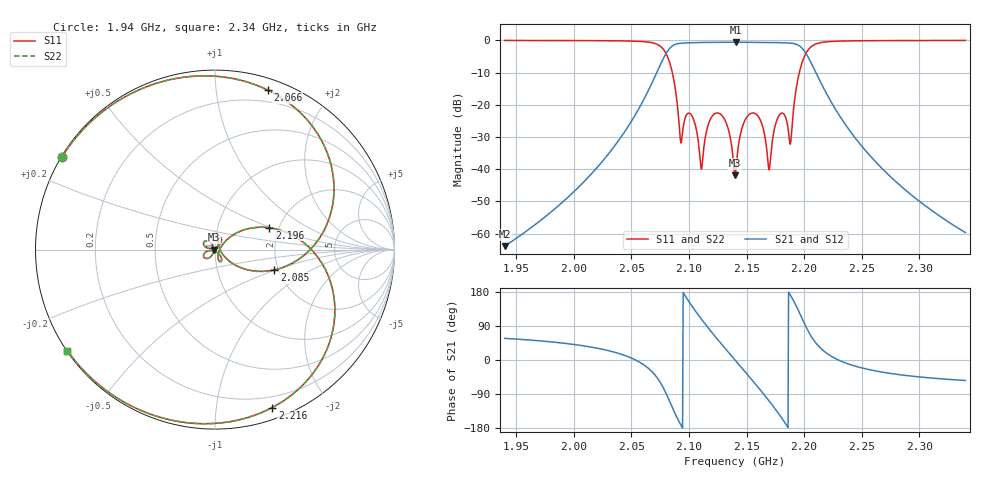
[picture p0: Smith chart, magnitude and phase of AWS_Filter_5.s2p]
!Port 1 is shunt  connected
!Port 2 is shunt  connected
!prototype= pole placed tchebycheff
!n=  5,  np= 0,  rl=  22.000dB
!transform= band pass
!f0= 2140.000MHz,  bw=  100.000MHz, q0=1000.000
!fstart= 1940.000MHz, fstep=  0.500MHz, fstop= 2340.000MHz
# MHZ S MA R 50
!Freq  Mag(S11)  Arg(S11)  Mag(S21)  Arg(S21)  Mag(S12)  Arg(S12)  Mag(S22)  Arg(S22)
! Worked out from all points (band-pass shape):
!   801 points, 1.94 GHz to 2.34 GHz, reference 50 ohm
!   highest |S21| = -0.58 dB at 2.14 GHz (marker M1); lowest = -63.9 dB at 1.94 GHz (marker M2)
!   |S21| within 3 dB of the highest: 2.081 GHz to 2.201 GHz (119.7 MHz wide, 5.59 % of centre)
!   lowest |S11| = -41.9 dB at 2.14 GHz (marker M3), VSWR 1.02, Z = 49.2 - j0.000178 ohm
!   |S11| at or under -10 dB: 2.086 GHz to 2.196 GHz (110.3 MHz wide, 5.15 % of centre)
!   |S22| runs from -41.9 to 0.0 dB; largest |S21 - S12| = 0
!   S11 on the Smith chart (normalised r, x): 1.94 GHz: 0.00, +0.28; 2.066 GHz: 0.10, +1.38; 2.085 GHz: 1.90, -0.49; 2.196 GHz: 1.78, +0.49; 2.216 GHz: 0.10, -1.42; 2.34 GHz: 0.00, -0.31
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1940  0.9968 148.8  0.0006382 57.2  0.0006382 57.2  0.9968 148.8
2007  0.9919 130.6  0.005908 38.1  0.005908 38.1  0.9919 130.6
2065.5  0.9365 71.8  0.1771 -23.8  0.1771 -23.8  0.9365 71.8
2073.5  0.8484 45.4  0.3601 -51.5  0.3601 -51.5  0.8484 45.4
2085  0.3492 -19.0  0.8035 -121.5  0.8035 -121.5  0.3492 -19.0
2093  0.02548 16.2  0.903 -171.4  0.903 -171.4  0.02548 16.2
2101.5  0.07167 60.0  0.9175 147.3  0.9175 147.3  0.07167 60.0
2112.5  0.01816 159.9  0.9284 101.3  0.9284 101.3  0.01816 159.9
2118  0.05646 164.0  0.9299 79.9  0.9299 79.9  0.05646 164.0
2126  0.07389 141.2  0.9314 50.3  0.9314 50.3  0.07389 141.2
2140  0.007991 -180.0  0.9355 -0.0  0.9355 -0.0  0.007991 -180.0
2140.5  0.008816 -156.6  0.9355 -1.8  0.9355 -1.8  0.008816 -156.6
2154.5  0.07433 -142.4  0.9321 -51.7  0.9321 -51.7  0.07433 -142.4
2162.5  0.05504 -164.7  0.9312 -81.0  0.9312 -81.0  0.05504 -164.7
2168  0.01704 -158.9  0.9302 -101.8  0.9302 -101.8  0.01704 -158.9
2179.5  0.07261 -60.7  0.9199 -148.6  0.9199 -148.6  0.07261 -60.7
2188  0.02441 -18.6  0.9072 171.7  0.9072 171.7  0.02441 -18.6
2196  0.3259 22.0  0.8201 124.4  0.8201 124.4  0.3259 22.0
2207  0.8185 -38.5  0.4154 58.4  0.4154 58.4  0.8185 -38.5
2216.5  0.9359 -70.1  0.1877 25.2  0.1877 25.2  0.9359 -70.1
2273.5  0.9918 -127.2  0.008105 -34.8  0.008105 -34.8  0.9918 -127.2
2340  0.9967 -145.6  0.001037 -54.1  0.001037 -54.1  0.9967 -145.6
